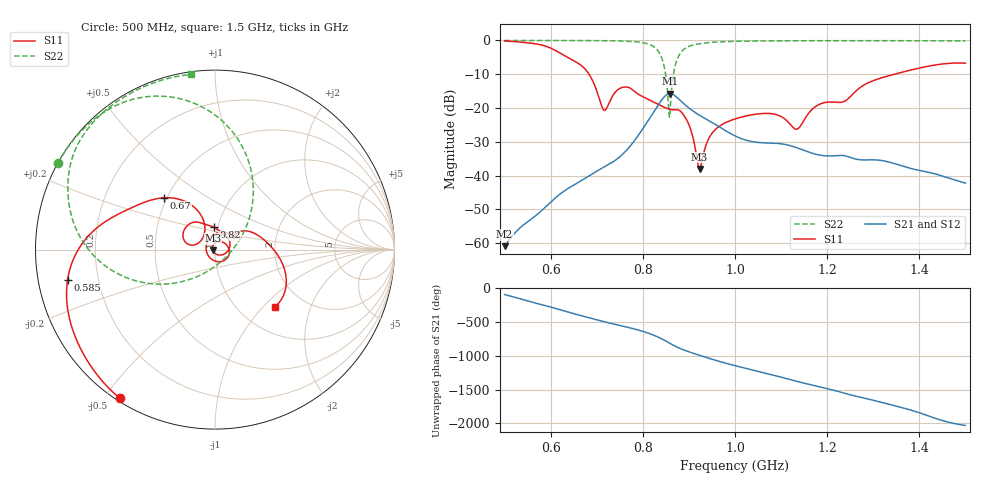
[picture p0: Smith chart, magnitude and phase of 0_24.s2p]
! TOUCHSTONE file generated by CST MICROWAVE STUDIO
! Date and time: Sat Oct 24 11:15:41 2020
! Project name: Scenario_1_Circular_Tissue_in_Line.cst
! Parameters = {L_HA=400; MT=2.54; Rad_Dielectric=30; Rad_Lower=7.3; Rad_Upper=30; a_HA=580; a_WG=246; b_HA=500; b_WG=121; c_HA=0; c_WG=187; d_feed=85; dx1=571.36; h_feed=15; h_lower=18; h_upper=40}
! Header version: 2018
! Port assignment regex: !\s*Touchstone port\s*([0-9]+)\s*=\s*(CST MWS port|CST DS port)\s*([0-9]+|Zmin|Zmax)\s*\(\"(.*)\"\)(\s*mode\s*([0-9]+))?.*
! Touchstone port assignment:
! Touchstone port 1 = CST MWS port 1 ("")
! Touchstone port 2 = CST MWS port 2 ("")
# GHz S DB R 50
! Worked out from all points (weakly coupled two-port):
!   1003 points, 500 MHz to 1.5 GHz, reference 50 ohm
!   highest |S21| = -15.76 dB at 859 MHz (marker M1); lowest = -60.9 dB at 500 MHz (marker M2)
!   lowest |S11| = -38.0 dB at 923 MHz (marker M3), VSWR 1.03, Z = 48.8 - j0.407 ohm
!   |S11| at or under -10 dB: 683.2 MHz to 1.346 GHz (662.8 MHz wide, 65.3 % of centre)
!   |S22| runs from -22.7 to 0.0 dB; largest |S21 - S12| = 0.00016
!   S11 on the Smith chart (normalised r, x): 500 MHz: 0.01, -0.55; 585 MHz: 0.09, -0.10; 670 MHz: 0.48, +0.33; 820 MHz: 0.95, +0.24; 1.5 GHz: 1.44, -1.17
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0.5  -0.15 -122.6  -60.92 -90.2  -60.92 -90.2  -0.01 151.1
0.585  -1.53 -168.3  -49.81 111.9  -49.81 111.9  -0.02 145.2
0.667  -7.50 137.3  -41.48 -44.7  -41.48 -44.7  -0.04 138.3
0.67  -7.84 134.6  -41.23 -50.1  -41.23 -50.1  -0.04 138.0
0.716  -20.67 140.8  -37.47 -133.5  -37.47 -133.5  -0.08 132.8
0.758  -13.84 147.7  -33.46 158.8  -33.46 158.8  -0.20 125.8
0.82  -18.02 93.8  -21.95 36.4  -21.95 36.4  -1.55 99.7
0.834  -18.97 82.2  -18.98 -3.2  -18.98 -3.3  -3.28 83.6
0.848  -19.88 69.6  -16.49 -51.6  -16.49 -51.6  -8.91 53.7
0.855  -20.26 63.0  -15.85 -78.8  -15.85 -78.8  -17.98 14.6
0.859  -20.41 59.0  -15.76 -94.7  -15.76 -94.7  -21.22 -83.5
0.867  -20.53 49.7  -16.13 -125.1  -16.13 -125.1  -9.53 -145.0
0.878  -20.64 29.2  -17.37 -161.6  -17.37 -161.6  -4.52 -169.4
0.901  -25.30 -29.7  -20.12 138.2  -20.12 138.2  -1.71 166.8
0.923  -38.04 -160.6  -22.17 88.7  -22.17 88.7  -0.96 156.4
0.951  -27.34 76.8  -24.35 28.9  -24.33 28.9  -0.54 148.6
1  -23.26 24.4  -28.27 -64.9  -28.25 -65.1  -0.27 140.2
1.082  -21.74 -39.3  -30.41 157.2  -30.41 157.2  -0.14 131.3
1.134  -26.29 -167.4  -31.77 62.7  -31.77 62.7  -0.11 126.8
1.167  -20.44 79.9  -33.38 7.6  -33.38 7.6  -0.09 124.1
1.334  -10.45 5.9  -36.01 83.2  -36.01 83.2  -0.09 111.4
1.5  -6.73 -43.9  -42.25 128.5  -42.25 128.5  -0.13 97.8
